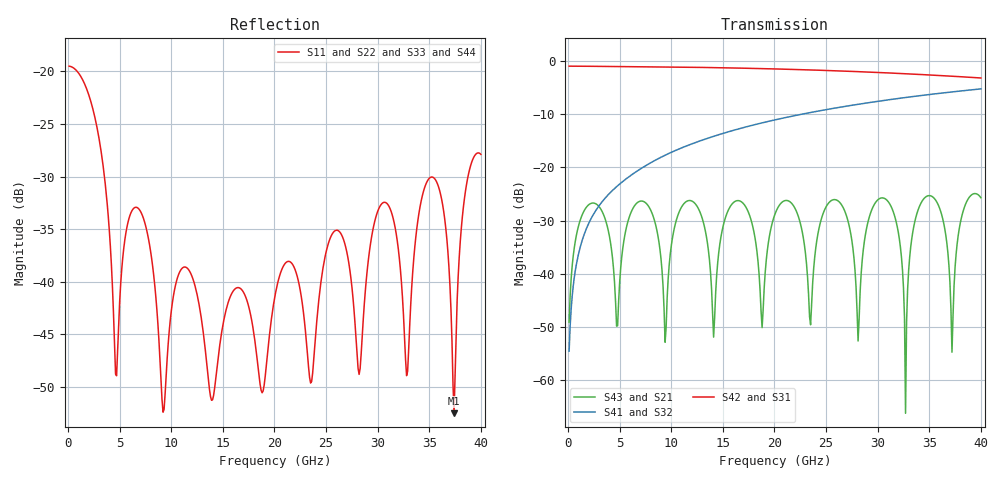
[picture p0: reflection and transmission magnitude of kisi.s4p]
! T_ts6_xt_ms_s10: Microstrip aggressor and victim on L1, w 0.265 mm, edge gap 1·w = 0.27 mm, 20 mm
! stackup: ThunderScope Rev5.3 6-layer (FR408HR / FR-4, from the board file)
! ports: 1 near A, 2 near B, 3 far A, 4 far B
! kisi-fdtd, conformal, dfine 0.035 mm, 697984 cells
# Hz S RI R 50
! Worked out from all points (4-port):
!   400 points, 100 MHz to 40 GHz, reference 50 ohm
!   strongest paths, dB at 100 MHz, 10.1 GHz, 20.1 GHz, 30.1 GHz, 40 GHz:
!     S42: -1.0, -1.1, -1.5, -2.2, -3.2
!     S31: -1.0, -1.1, -1.5, -2.2, -3.2
!     S41: -54.5, -17.1, -11.0, -7.6, -5.3
!     S32: -54.5, -17.1, -11.0, -7.6, -5.3
!     S43: -49.1, -33.4, -28.5, -25.9, -25.7
!     S21: -49.1, -33.4, -28.5, -25.9, -25.7
!   lowest |S11| = -52.5 dB at 37.4 GHz (marker M1), VSWR 1.00, Z = 50 - j0.237 ohm
!   |S11| at or under -10 dB: start of sweep to end of sweep
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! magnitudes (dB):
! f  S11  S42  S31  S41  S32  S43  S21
! 100 MHz  -19.5  -1.0  -1.0  -54.5  -54.5  -49.1  -49.1
! 4.7 GHz  -48.9  -1.1  -1.1  -23.6  -23.6  -49.8  -49.8
! 7 GHz  -33.3  -1.1  -1.1  -20.3  -20.3  -26.3  -26.3
! 30.8 GHz  -32.5  -2.2  -2.2  -7.4  -7.4  -26.0  -26.0
! 32.7 GHz  -47.4  -2.4  -2.4  -6.9  -6.9  -66.2  -66.2
! 37.4 GHz  -52.5  -2.9  -2.9  -5.8  -5.8  -42.2  -42.2
! 40 GHz  -27.9  -3.2  -3.2  -5.3  -5.3  -25.7  -25.7
